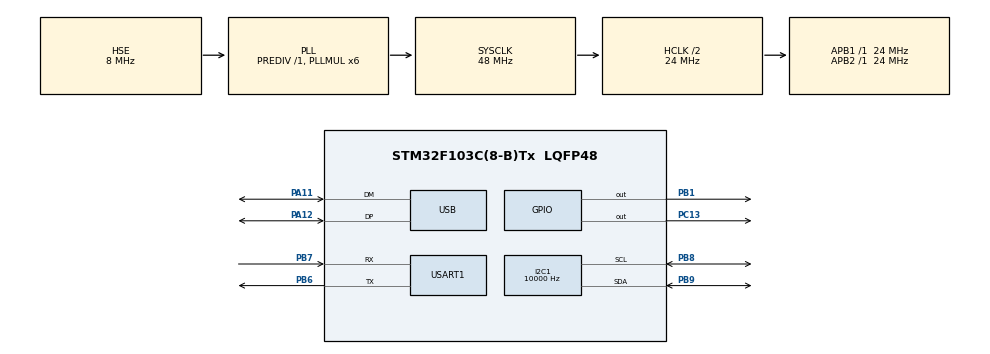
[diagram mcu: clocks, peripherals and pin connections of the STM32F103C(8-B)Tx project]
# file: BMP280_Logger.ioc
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I2C1.ClockSpeed=10000
Mcu.Family=STM32F1
Mcu.Name=STM32F103C(8-B)Tx
Mcu.Package=LQFP48
NVIC.PriorityGroup=NVIC_PRIORITYGROUP_4
NVIC.RTC_Alarm_IRQn=true\:0\:0\:false\:false\:true\:true\:true
NVIC.USB_LP_CAN1_RX0_IRQn=true\:0\:0\:false\:false\:true\:false\:true
PA11.Mode=Device
PA11.Signal=USB_DM
PA12.Mode=Device
PA12.Signal=USB_DP
PA13.Mode=Serial_Wire
PA13.Signal=SYS_JTMS-SWDIO
PA14.Mode=Serial_Wire
PA14.Signal=SYS_JTCK-SWCLK
PB1.Signal=GPIO_Output
PB6.Mode=Asynchronous
PB6.Signal=USART1_TX
PB7.Mode=Asynchronous
PB7.Signal=USART1_RX
PB8.Mode=I2C
PB8.Signal=I2C1_SCL
PB9.Mode=I2C
PB9.Signal=I2C1_SDA
PC13-TAMPER-RTC.Signal=GPIO_Output
PC14-OSC32_IN.Mode=LSE-External-Oscillator
PC14-OSC32_IN.Signal=RCC_OSC32_IN
PC15-OSC32_OUT.Mode=LSE-External-Oscillator
PC15-OSC32_OUT.Signal=RCC_OSC32_OUT
PD0-OSC_IN.Mode=HSE-External-Oscillator
PD0-OSC_IN.Signal=RCC_OSC_IN
PD1-OSC_OUT.Mode=HSE-External-Oscillator
PD1-OSC_OUT.Signal=RCC_OSC_OUT
ProjectManager.HeapSize=0x200
ProjectManager.StackSize=0x400
ProjectManager.TargetToolchain=STM32CubeIDE
RCC.AHBCLKDivider=RCC_SYSCLK_DIV2
RCC.AHBFreq_Value=24000000
RCC.APB1Freq_Value=24000000
RCC.APB1TimFreq_Value=24000000
RCC.APB2Freq_Value=24000000
RCC.APB2TimFreq_Value=24000000
RCC.HCLKFreq_Value=24000000
RCC.PLLMUL=RCC_PLL_MUL6
RCC.RTCClockSelection=RCC_RTCCLKSOURCE_LSE
RCC.SYSCLKFreq_VALUE=48000000
RCC.SYSCLKSource=RCC_SYSCLKSOURCE_PLLCLK
RCC.USBFreq_Value=48000000
USART1.VirtualMode=VM_ASYNC
USB_DEVICE.CLASS_NAME_FS=CDC
USB_DEVICE.PRODUCT_STRING_CDC_FS=Data Logger
USB_DEVICE.VirtualMode=Cdc
USB_DEVICE.VirtualModeFS=Cdc_FS
VP_RTC_VS_RTC_Activate.Mode=RTC_Enabled
VP_USB_DEVICE_VS_USB_DEVICE_CDC_FS.Mode=CDC_FS
board=custom

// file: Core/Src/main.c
/* USER CODE BEGIN Header */
/**
 ******************************************************************************
 * @file           : main.c
 * @brief          : Main program body
 ******************************************************************************
 * @attention
 *
 * <h2><center>&copy; Copyright (c) 2021 STMicroelectronics.
 * All rights reserved.</center></h2>
 *
 * This software component is licensed by ST under BSD 3-Clause license,
 * the "License"; You may not use this file except in compliance with the
 * License. You may obtain a copy of the License at:
 *                        opensource.org/licenses/BSD-3-Clause
 *
 ******************************************************************************
 */
/* USER CODE END Header */
#include "main.h"
#include "usb_device.h"

/* USER CODE BEGIN Includes */
#include "bmp280.h"
#include <stdio.h>
#include <stdlib.h>
#include <string.h>
#include "usbd_cdc.h"
#include "usbd_cdc_if.h"
/* USER CODE END Includes */

/* USER CODE BEGIN PD */
#define RX_BUFF_SIZE   64  /* Max Received data 1KB */
#define DATA_BUFF_SIZE 256
#define SLEEP_TIME	   60U
/* USER CODE END PD */

/* USER CODE BEGIN PM */
#define LED_ON()	  HAL_GPIO_WritePin(GPIOC, GPIO_PIN_13, GPIO_PIN_RESET);
#define LED_OFF()	  HAL_GPIO_WritePin(GPIOC, GPIO_PIN_13, GPIO_PIN_SET);
#define BMP280_ON()	  HAL_GPIO_WritePin(GPIOB, GPIO_PIN_1, GPIO_PIN_SET);
#define BMP280_OFF()  HAL_GPIO_WritePin(GPIOB, GPIO_PIN_1, GPIO_PIN_RESET);
/* USER CODE END PM */

I2C_HandleTypeDef hi2c1;

RTC_HandleTypeDef hrtc;

UART_HandleTypeDef huart1;

/* USER CODE BEGIN PV */
USBD_HandleTypeDef  hUsbDeviceFS;
volatile uint8_t usb_connected = false;
volatile uint8_t sleep_enable = true;
uint8_t alarm_flag = 0;
volatile int8_t usb_cdc_open = -1;
volatile uint8_t usb_buffer[RX_BUFF_SIZE];
enum STATE
{
	STATE_UNINITIALIZED,
	STATE_ERASING_FLASH,
	STATE_LOGGING,
	STATE_DOWNLOADING,
	STATE_SETTING_TIME,
	STATE_MEMORY_FULL
};

#define FLASH_USER_START_ADDR   ADDR_FLASH_PAGE_61   			/* Start @ of user Flash area */
#define FLASH_USER_END_ADDR     END_OF_FLASH - 0x10				/* End @ of user Flash area */
#define EPOCH_ADDR 				FLASH_USER_END_ADDR - 0x20
#define EPOCH_ADDR_BACKUP		FLASH_USER_END_ADDR - 0x10
#define FLASH_DATA_END_ADDR		FLASH_USER_END_ADDR - 0x30
#define FLASH_CURRENT_ADDR		FLASH_USER_END_ADDR - 0x20 + 4U

BMP280_HandleTypedef bmp280;

float pressure;
float temperature;
float humidity;

int32_t i32temperature;
uint32_t u32pressure;
uint32_t u32humidity;

uint16_t size;
uint8_t Data[DATA_BUFF_SIZE];
uint16_t sample = 1;

volatile uint32_t current_address = FLASH_USER_START_ADDR;

volatile enum STATE current_state = STATE_UNINITIALIZED;

//bool time_set = false;

/* USER CODE END PV */

void SystemClock_Config(void);
static void MX_GPIO_Init(void);
static void MX_I2C1_Init(void);
static void MX_USART1_UART_Init(void);
static void MX_RTC_Init(void);
/* USER CODE BEGIN PFP */
void setAlarm(void);
void resetTime(void);
void HAL_RTC_AlarmAEventCallback(RTC_HandleTypeDef *hrtc); //This routine is called when alarm interrupt occurs
void enterSleepMode(void);
void enterStopMode(void);
void enterStandbyMode(void);
/* USER CODE END PFP */

/* USER CODE BEGIN 0 */
static void configurePA11Interrupt(void);
uint8_t isUSBConnected();
uint32_t readFlash(uint32_t addr);
uint32_t readFlashCurrentAddress();
void writeFlashCurrentAddress(uint32_t addr);
void writeEpochToFlash(uint32_t epoch_time);
void serial_menu_usb();
HAL_StatusTypeDef eraseFlash(uint32_t startAddress, uint32_t endAddress);
uint32_t writeFlashU16(uint32_t startAddress, uint16_t data);
uint32_t writeFlashU32(uint32_t startAddress, uint32_t data);
void sendStoredData(uint32_t start, uint32_t end);
void sleepTest(void);
void stopTest(void);
/* USER CODE END 0 */

int main(void)
{

  /* MCU Configuration--------------------------------------------------------*/

  /* Reset of all peripherals, Initializes the Flash interface and the Systick. */
  HAL_Init();

  /* Configure the system clock */
  SystemClock_Config();

  /* Initialize all configured peripherals */
  MX_GPIO_Init();
  MX_I2C1_Init();
  MX_USART1_UART_Init();
  MX_USB_DEVICE_Init();
  MX_RTC_Init();
  /* USER CODE BEGIN 2 */
	const uint16_t DELAY_TIME = 1000;

	uint32_t data;
	data = readFlash(current_address);

	while ((data != 0xFFFFFFFF) && (current_address < FLASH_DATA_END_ADDR))
	{
		current_address += 4;
		data = readFlash(current_address);
	}

	resetTime();

	BMP280_ON();

	LED_ON();
	HAL_Delay(DELAY_TIME);
	LED_OFF();

	bmp280_init_default_params(&bmp280.params);
	bmp280.addr = BMP280_I2C_ADDRESS_0;
	bmp280.i2c = &hi2c1;

	while (!bmp280_init(&bmp280, &bmp280.params))
	{
		size = sprintf((char*) Data, "BMP280 initialization failed\r\n");
		HAL_UART_Transmit(&huart1, Data, size, HAL_MAX_DELAY);
		CDC_Transmit_FS(Data, size);
		HAL_Delay(DELAY_TIME * 2);
	}

  /* USER CODE END 2 */

  /* Infinite loop */
	while (1)
	{

    /* USER CODE BEGIN 3 */
		if (current_state == STATE_MEMORY_FULL)
		{
			char msg[] = "Memory full\r\n";
			while (CDC_Transmit_FS((uint8_t*) msg, strlen(msg)) != USBD_OK)
			{
				HAL_Delay(100);
			}
			serial_menu_usb();
			HAL_Delay(DELAY_TIME);
		}
		else
		{
			if (alarm_flag)
			{
				alarm_flag = 0;
				LED_ON();
				resetTime();
				setAlarm();
				// Read sensor
				bmp280_read_fixed(&bmp280, &i32temperature, &u32pressure,
						&u32humidity);

				// Write to flash
				current_address += writeFlashU16(current_address,
						(uint16_t) i32temperature);
			}
		}

		// Check if memory is full
		if (current_address >= FLASH_DATA_END_ADDR + 0x0E)
		{
			current_state = STATE_MEMORY_FULL;
		}

		if (usb_cdc_open == 1)
		{
			serial_menu_usb();
		}

		sleep_enable = !(isUSBConnected());

		if (sleep_enable)
		{
			usb_connected = 0;
			USBD_Stop(&hUsbDeviceFS);
			configurePA11Interrupt();
			LED_OFF();
			BMP280_OFF();
			enterStopMode();			// ~100uA
			// System clock set to HSI RC after waking from stop mode
			SystemClock_Config();
			HAL_ResumeTick();
			MX_USB_DEVICE_Init();
			LED_ON();
			BMP280_ON();
			MX_I2C1_Init();
			// Initialize sensor after stop mode
			bmp280_init_default_params(&bmp280.params);
			bmp280.addr = BMP280_I2C_ADDRESS_0;
			bmp280.i2c = &hi2c1;

			while (!bmp280_init(&bmp280, &bmp280.params))
			{
				size = sprintf((char*) Data, "BMP280 initialization failed\r\n");
				CDC_Transmit_FS(Data, size);
				HAL_Delay(100);
			}

			alarm_flag = 1;
			HAL_Delay(500);
		}
		else
		{
			LED_ON();
			HAL_Delay(DELAY_TIME);
		}
	}
  /* USER CODE END 3 */
}

void SystemClock_Config(void)
{
  RCC_OscInitTypeDef RCC_OscInitStruct = {0};
  RCC_ClkInitTypeDef RCC_ClkInitStruct = {0};
  RCC_PeriphCLKInitTypeDef PeriphClkInit = {0};

  /** Initializes the RCC Oscillators according to the specified parameters
  * in the RCC_OscInitTypeDef structure.
  */
  RCC_OscInitStruct.OscillatorType = RCC_OSCILLATORTYPE_HSE|RCC_OSCILLATORTYPE_LSE;
  RCC_OscInitStruct.HSEState = RCC_HSE_ON;
  RCC_OscInitStruct.HSEPredivValue = RCC_HSE_PREDIV_DIV1;
  RCC_OscInitStruct.LSEState = RCC_LSE_ON;
  RCC_OscInitStruct.HSIState = RCC_HSI_ON;
  RCC_OscInitStruct.PLL.PLLState = RCC_PLL_ON;
  RCC_OscInitStruct.PLL.PLLSource = RCC_PLLSOURCE_HSE;
  RCC_OscInitStruct.PLL.PLLMUL = RCC_PLL_MUL6;
  if (HAL_RCC_OscConfig(&RCC_OscInitStruct) != HAL_OK)
  {
    Error_Handler();
  }
  /** Initializes the CPU, AHB and APB buses clocks
  */
  RCC_ClkInitStruct.ClockType = RCC_CLOCKTYPE_HCLK|RCC_CLOCKTYPE_SYSCLK
                              |RCC_CLOCKTYPE_PCLK1|RCC_CLOCKTYPE_PCLK2;
  RCC_ClkInitStruct.SYSCLKSource = RCC_SYSCLKSOURCE_PLLCLK;
  RCC_ClkInitStruct.AHBCLKDivider = RCC_SYSCLK_DIV2;
  RCC_ClkInitStruct.APB1CLKDivider = RCC_HCLK_DIV1;
  RCC_ClkInitStruct.APB2CLKDivider = RCC_HCLK_DIV1;

  if (HAL_RCC_ClockConfig(&RCC_ClkInitStruct, FLASH_LATENCY_1) != HAL_OK)
  {
    Error_Handler();
  }
  PeriphClkInit.PeriphClockSelection = RCC_PERIPHCLK_RTC|RCC_PERIPHCLK_USB;
  PeriphClkInit.RTCClockSelection = RCC_RTCCLKSOURCE_LSE;
  PeriphClkInit.UsbClockSelection = RCC_USBCLKSOURCE_PLL;
  if (HAL_RCCEx_PeriphCLKConfig(&PeriphClkInit) != HAL_OK)
  {
    Error_Handler();
  }
}

static void MX_I2C1_Init(void)
{

  hi2c1.Instance = I2C1;
  hi2c1.Init.ClockSpeed = 10000;
  hi2c1.Init.DutyCycle = I2C_DUTYCYCLE_2;
  hi2c1.Init.OwnAddress1 = 0;
  hi2c1.Init.AddressingMode = I2C_ADDRESSINGMODE_7BIT;
  hi2c1.Init.DualAddressMode = I2C_DUALADDRESS_DISABLE;
  hi2c1.Init.OwnAddress2 = 0;
  hi2c1.Init.GeneralCallMode = I2C_GENERALCALL_DISABLE;
  hi2c1.Init.NoStretchMode = I2C_NOSTRETCH_DISABLE;
  if (HAL_I2C_Init(&hi2c1) != HAL_OK)
  {
    Error_Handler();
  }

}

static void MX_RTC_Init(void)
{

  /** Initialize RTC Only
  */
  hrtc.Instance = RTC;
  hrtc.Init.AsynchPrediv = RTC_AUTO_1_SECOND;
  hrtc.Init.OutPut = RTC_OUTPUTSOURCE_NONE;
  if (HAL_RTC_Init(&hrtc) != HAL_OK)
  {
    Error_Handler();
  }

}

static void MX_USART1_UART_Init(void)
{

  huart1.Instance = USART1;
  huart1.Init.BaudRate = 115200;
  huart1.Init.WordLength = UART_WORDLENGTH_8B;
  huart1.Init.StopBits = UART_STOPBITS_1;
  huart1.Init.Parity = UART_PARITY_NONE;
  huart1.Init.Mode = UART_MODE_TX_RX;
  huart1.Init.HwFlowCtl = UART_HWCONTROL_NONE;
  huart1.Init.OverSampling = UART_OVERSAMPLING_16;
  if (HAL_UART_Init(&huart1) != HAL_OK)
  {
    Error_Handler();
  }

}

static void MX_GPIO_Init(void)
{
  GPIO_InitTypeDef GPIO_InitStruct = {0};

  /* GPIO Ports Clock Enable */
  __HAL_RCC_GPIOC_CLK_ENABLE();
  __HAL_RCC_GPIOD_CLK_ENABLE();
  __HAL_RCC_GPIOB_CLK_ENABLE();
  __HAL_RCC_GPIOA_CLK_ENABLE();

  /*Configure GPIO pin Output Level */
  HAL_GPIO_WritePin(GPIOC, GPIO_PIN_13, GPIO_PIN_RESET);

  /*Configure GPIO pin Output Level */
  HAL_GPIO_WritePin(GPIOB, GPIO_PIN_1, GPIO_PIN_RESET);

  /*Configure GPIO pin : PC13 */
  GPIO_InitStruct.Pin = GPIO_PIN_13;
  GPIO_InitStruct.Mode = GPIO_MODE_OUTPUT_PP;
  GPIO_InitStruct.Pull = GPIO_NOPULL;
  GPIO_InitStruct.Speed = GPIO_SPEED_FREQ_LOW;
  HAL_GPIO_Init(GPIOC, &GPIO_InitStruct);

  /*Configure GPIO pin : PB1 */
  GPIO_InitStruct.Pin = GPIO_PIN_1;
  GPIO_InitStruct.Mode = GPIO_MODE_OUTPUT_PP;
  GPIO_InitStruct.Pull = GPIO_NOPULL;
  GPIO_InitStruct.Speed = GPIO_SPEED_FREQ_LOW;
  HAL_GPIO_Init(GPIOB, &GPIO_InitStruct);

}

/* USER CODE BEGIN 4 */
void EXTI15_10_IRQHandler(void)
{
//	if ((EXTI->PR & EXTI_PR_PR14) != 0 || (EXTI->PR & EXTI_PR_PR11) != 0) /* Check line 11 has triggered the IT */
	if ((EXTI->PR & EXTI_PR_PR11) != 0) /* Check line 11 has triggered the IT */
	{
		usb_connected = 1;
//		EXTI->PR |= EXTI_PR_PR14; /* Clear the pending bit */
		EXTI->PR |= EXTI_PR_PR11; /* Clear the pending bit */
	}
	EXTI->PR |= 0U;
	NVIC_DisableIRQ(EXTI15_10_IRQn);
}

static void configurePA11Interrupt(void)
{
	GPIO_InitTypeDef GPIO_InitStruct =
	{ 0 };

	/*Configure GPIO pin : PA11 */
	GPIO_InitStruct.Pin = GPIO_PIN_11;
	GPIO_InitStruct.Mode = GPIO_MODE_EVT_RISING_FALLING;
	GPIO_InitStruct.Pull = GPIO_PULLDOWN;
	GPIO_InitStruct.Speed = GPIO_SPEED_FREQ_LOW;
	HAL_GPIO_Init(GPIOA, &GPIO_InitStruct);

	AFIO->EXTICR[3] = AFIO_EXTICR3_EXTI11_PA;

	EXTI->IMR = EXTI_IMR_MR11;
	NVIC_EnableIRQ(EXTI15_10_IRQn);
}

uint8_t isUSBConnected()
{
	uint8_t connected = 0;
	if (hUsbDeviceFS.dev_state == USBD_STATE_CONFIGURED)
	{
		connected = 1;
	}
	return (connected);
}

void writeEpochToFlash(uint32_t epoch_time)
{
	writeFlashU32(EPOCH_ADDR, epoch_time);
	writeFlashU32(EPOCH_ADDR_BACKUP, epoch_time);
}

void serial_menu_usb()
{
	char menu[] = "d - Download data\r\nl - Start logging\r\n";

	CDC_Transmit_FS((uint8_t*) menu, strlen(menu));

	size = strlen(usb_buffer);

	if (size != 0)
	{
//		enum STATE previous_state;
		switch (usb_buffer[0])
		{
		case 'd':
//			current_state = STATE_DOWNLOADING;
			sendStoredData(FLASH_USER_START_ADDR, current_address);
			memset(Data, 0, DATA_BUFF_SIZE);
			memset(usb_buffer, 0, RX_BUFF_SIZE);
			eraseFlash(FLASH_USER_START_ADDR, END_OF_FLASH);
			current_address = FLASH_USER_START_ADDR;
			break;
		case 'l':
//			previous_state = current_state;
//			current_state = STATE_SETTING_TIME;
			size = sprintf(Data, "Set time\r\nEnter epoch time: ");
			while (CDC_Transmit_FS(Data, size) != USBD_OK)
			{
				HAL_Delay(100);
			}
			size = sprintf(Data, "\r\n");
			CDC_Transmit_FS(Data, size);
			//			CDC_Transmit_FS((char *)'\n', 1);
			memset(Data, 0, DATA_BUFF_SIZE);
			memset(usb_buffer, 0, RX_BUFF_SIZE);
			// Delay until epoch time received - 10 characters
			for (uint8_t i = 0; i < 60; i++)
			{
				if (strlen(usb_buffer) > 10)
					break;
				HAL_Delay(1000);
			}
			if (strlen(usb_buffer) < 10)
			{
				size = sprintf(Data, "\r\nNo input received\r\n");
				while (CDC_Transmit_FS(Data, size) != USBD_OK)
				{
					HAL_Delay(100);
				}
			}
			else
			{
				CDC_Transmit_FS(usb_buffer, strlen(usb_buffer));
				uint32_t epoch_time;
				sscanf(usb_buffer, "%zu", &epoch_time);
				// TODO: Check epoch time is valid
				current_state = STATE_ERASING_FLASH;
				size = sprintf(Data, "Erasing flash...\r\n");
				while (CDC_Transmit_FS(Data, size) != USBD_OK)
				{
					HAL_Delay(100);
				}
				eraseFlash(FLASH_USER_START_ADDR, END_OF_FLASH);
				writeEpochToFlash(epoch_time);
				// TODO: Verify epoch time saved to flash
				size = sprintf(Data, "Time saved! - %u\r\n", epoch_time);
				while (CDC_Transmit_FS(Data, size) != USBD_OK)
				{
					HAL_Delay(100);
				}
				size = sprintf(Data, "Logging started\r\n");
				while (CDC_Transmit_FS(Data, size) != USBD_OK)
				{
					HAL_Delay(100);
				}
				current_state = STATE_LOGGING;
				current_address = FLASH_USER_START_ADDR;
				// Debugging
				sample = 1;
			}
			break;
		default:
			break;
		}
	}
}

void sendStoredData(uint32_t start, uint32_t end)
{
	int32_t data = -1;
	int16_t temp1;
	int16_t temp2;

	uint16_t sample_no = 1;

	while (start < end)
	{
		data = readFlash(start);

		temp2 = data >> 16;
		temp1 = (uint16_t) data;

		if (temp1 == -1)
			break;

		size = sprintf((char*) Data, "%d, %.2f\r\n", sample_no,
				(float) (temp1 / 100.0f));
		sample_no++;

		CDC_Transmit_FS(Data, size);

		if (temp2 == -1)
			break;

		size = sprintf((char*) Data, "%d, %.2f\r\n", sample_no,
				(float) (temp2 / 100.0f));
		sample_no++;

		CDC_Transmit_FS(Data, size);

		start += 4;
	}
}

void sleepTest(void)
{
	while (1)
	{
		enterSleepMode();
	}
}

void stopTest(void)
{
	while (1)
	{
		enterStopMode();
	}
}

uint32_t readFlash(uint32_t addr)
{
	uint32_t data = *(__IO uint32_t*) (addr);
	return data;
}

uint32_t readFlashCurrentAddress()
{
	return readFlash(FLASH_CURRENT_ADDR);
}
void writeFlashCurrentAddress(uint32_t addr)
{
	//	eraseFlash();
	writeFlashU32(FLASH_CURRENT_ADDR, addr);
}

HAL_StatusTypeDef eraseFlash(uint32_t startAddress, uint32_t endAddress)
{
	HAL_FLASH_Unlock();
	HAL_StatusTypeDef status = HAL_ERROR;

	FLASH_EraseInitTypeDef EraseInitStruct;
	EraseInitStruct.TypeErase = FLASH_TYPEERASE_PAGES;
	EraseInitStruct.PageAddress = startAddress;
	EraseInitStruct.NbPages = (endAddress - startAddress) / FLASH_PAGE_SIZE;
	uint32_t PAGEError = 0;

	status = HAL_FLASHEx_Erase(&EraseInitStruct, &PAGEError);//Fill FF, as -1.

	HAL_FLASH_Lock();
	return status;
}

uint32_t writeFlashU16(uint32_t startAddress, uint16_t data)
{
	uint32_t return_value = 0;
	if (startAddress + 2 >= END_OF_FLASH) { return (0); }
	HAL_FLASH_Unlock();

	if (HAL_FLASH_Program(FLASH_TYPEPROGRAM_HALFWORD, startAddress, data)
			== HAL_OK)
	{
		return_value = 2;
	}

	HAL_FLASH_Lock();
	return (return_value);
}

uint32_t writeFlashU32(uint32_t startAddress, uint32_t data)
{
	uint32_t return_value = 0;
	if (startAddress + 4 >= END_OF_FLASH) { return (0); }
	HAL_FLASH_Unlock();

	if (HAL_FLASH_Program(FLASH_TYPEPROGRAM_WORD, startAddress, data) == HAL_OK)
	{
		return_value = 4;
	}

	HAL_FLASH_Lock();
	return (return_value);
}

void HAL_RTC_AlarmAEventCallback(RTC_HandleTypeDef *hrtc)
{
	alarm_flag = 1;
}

void enterSleepMode(void)
{
	__HAL_PWR_CLEAR_FLAG(PWR_FLAG_WU);
	HAL_PWR_EnterSLEEPMode(PWR_LOWPOWERREGULATOR_ON, PWR_SLEEPENTRY_WFE);
}

void enterStopMode(void)
{
	EXTI->EMR = EXTI_EMR_MR17;				// event unmask line 17 (RTC)
	EXTI->RTSR = EXTI_RTSR_TR17;			// rising edge detection

	PWR->CR &= ~PWR_CR_PDDS;				// Enter stop mode when the CPU enters deepsleep.
	PWR->CR |= PWR_CR_LPDS; 				// Voltage regulator in low-power mode during Stop mode
	SCB->SCR |= SCB_SCR_SLEEPDEEP_Msk;			// sleep mode

	RCC->APB1ENR |= (RCC_APB1ENR_PWREN | RCC_APB1ENR_BKPEN); //Enable the power and backup interface clocks
    RCC->BDCR |=  RCC_BDCR_BDRST;			// reset backup domain
    RCC->BDCR &= ~RCC_BDCR_BDRST;			// reset backup domain

	PWR->CR |= PWR_CR_DBP;             	  	// enable access to the backup registers and the RTC.
	/* Note: The LSEON, LSEBYP, RTCSEL and RTCEN bits of the Backup domain control register (RCC_BDCR)
	 * are in the Backup domain. As a result, after Reset, these bits are write- protected and the DBP bit
	 * in the Power control register (PWR_CR) has to be set before these can be modified.
	 * These bits are only reset after a Backup domain Reset. Any internal or external Reset will not have
	 * any effect on these bits. */

	RCC->BDCR |= RCC_BDCR_LSEON;			// external low freq oscillator
	while(!(RCC->BDCR & RCC_BDCR_LSERDY)) asm("nop"); 	// Wait for LSE ready

//	RCC->CSR |= RCC_CSR_LSION;				// internal low freq oscillator
//	while(!(RCC->CSR & RCC_CSR_LSIRDY)); 	// Wait for LSI ready

//	RCC->BDCR |= RCC_BDCR_RTCSEL_LSI;		// LSI source
	RCC->BDCR |= RCC_BDCR_RTCSEL_LSE;		// LSE source
	RCC->BDCR |= RCC_BDCR_RTCEN;			// RTC on

	RTC->CRL &= (uint16_t)~RTC_FLAG_RSF;	// clear RSF flag
	while (!(RTC->CRL & RTC_CRL_RSF));		// Wait for the RSF to be set by hardware

	// config mode to set prescaler and alarm setting
	while (!(RTC->CRL & RTC_CRL_RTOFF));			// wait until RTOFF = 1
	RTC->CRL |= RTC_CRL_CNF;						// enter configuration mode
	RTC->PRLH = (uint16_t)0;
	RTC->PRLL = (uint16_t)32767;					// RTC prescaler - RTCCLK = 32.768 kHz = 0x7FFF = 1 second
	RTC->ALRH = (uint16_t)0;
	RTC->ALRL = (uint16_t)SLEEP_TIME;						// alarm N seconds
	RTC->CRL &= (uint16_t)~((uint16_t)RTC_CRL_CNF); // exit configuration mode
	while (!(RTC->CRL & RTC_CRL_RTOFF));			// wait until RTOFF = 1

	EXTI->PR &= EXTI_PR_PR17;							// reset pending interrupts
	RTC->CRL &= (uint16_t)~((uint16_t)RTC_CRL_ALRF);	// clear alarm flag

	__WFE();								// enter stop mode
}

void enterStandbyMode(void)
{
	__HAL_PWR_CLEAR_FLAG(PWR_FLAG_WU);
	HAL_PWR_EnterSTANDBYMode();
}

void setAlarm(void)
{
	RTC_AlarmTypeDef sAlarm;

	sAlarm.AlarmTime.Hours = 0U;
	sAlarm.AlarmTime.Minutes = 0U;
	sAlarm.AlarmTime.Seconds = SLEEP_TIME;
	sAlarm.Alarm = RTC_ALARM_A;

	if (HAL_RTC_SetAlarm_IT(&hrtc, &sAlarm, RTC_FORMAT_BIN) != HAL_OK)
	{
		Error_Handler();
	}
}

void resetTime(void)
{
	RTC_TimeTypeDef sTime;

	sTime.Hours = 0U;
	sTime.Minutes = 0U;
	sTime.Seconds = 0U;

	if (HAL_RTC_SetTime(&hrtc, &sTime, RTC_FORMAT_BCD) != HAL_OK)
	{
		Error_Handler();
	}
}
/* USER CODE END 4 */

void Error_Handler(void)
{
	__disable_irq();
	while (1)
	{
	}
}

/************************ (C) COPYRIGHT STMicroelectronics *****END OF FILE****/
